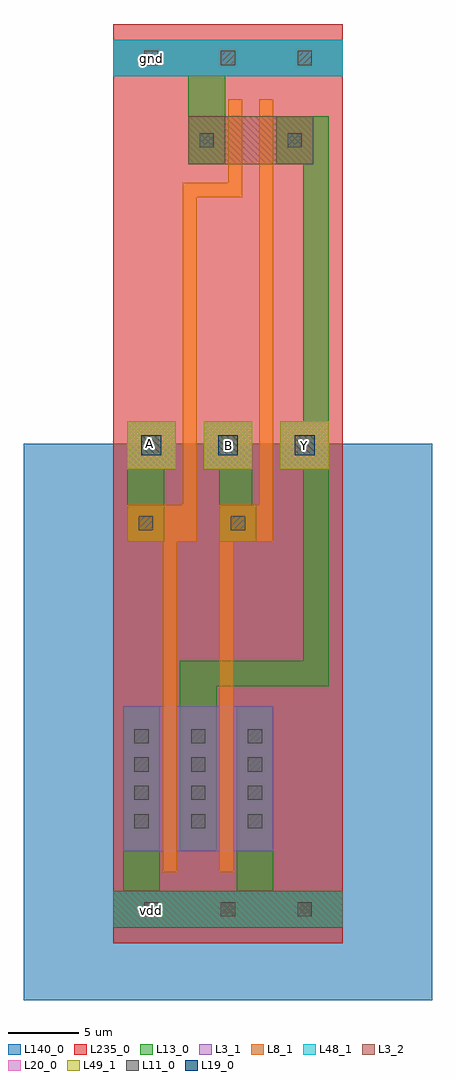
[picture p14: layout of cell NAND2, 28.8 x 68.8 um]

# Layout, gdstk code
import gdstk
lib = gdstk.Library(unit=1e-6, precision=1e-09)
def R(c, l, rs):  # rectangles x0, y0, x1, y1
    for r in rs: c.add(gdstk.rectangle(r[:2], r[2:], *l))
def A(c, l, x, y, w, h, nx, ny, dx, dy):  # array of equal rectangles
    R(c, l, [(x+i*dx, y+j*dy, x+i*dx+w, y+j*dy+h) for i in range(nx) for j in range(ny)])
def P(c, l, *ps):  # polygons
    for p in ps: c.add(gdstk.Polygon(p, *l))
L3_1 = (3, 1)
L3_2 = (3, 2)
L8_1 = (8, 1)
L11_0 = (11, 0)
L13_0 = (13, 0)
L19_0 = (19, 0)
L20_0 = (20, 0)
L48_1 = (48, 1)
L49_1 = (49, 1)
L140_0 = (140, 0)
L235_0 = (235, 0)

nand2 = lib.new_cell('NAND2')
R(nand2, L3_1, [(0.7,-58.3,7.3,-48.1), (4.7,-58.3,11.3,-48.1), (0,-3.7,16.2,-1.1)])
R(nand2, L3_2, [(0,-63.7,16.2,-61.1), (5.3,-9.9,14.1,-6.5)])
P(nand2, L8_1, [(3.5,-59.8),(3.5,-36.5),(1,-36.5),(1,-33.9),(4.9,-33.9),(4.9,-11.2),(8.1,-11.2),(8.1,-5.3),(9.1,-5.3),(9.1,-12.2),(5.9,-12.2),(5.9,-36.5),(4.5,-36.5),(4.5,-59.8)],
  [(7.5,-59.8),(7.5,-33.9),(10.3,-33.9),(10.3,-5.3),(11.3,-5.3),(11.3,-36.5),(8.5,-36.5),(8.5,-59.8)])
A(nand2, L11_0, 1.5, -56.7, 1, 1, 3, 4, 4, 2)
R(nand2, L11_0, [(2.2,-62.9,3.2,-61.9), (2.2,-62.9,3.2,-61.9), (7.6,-62.9,8.6,-61.9), (7.6,-62.9,8.6,-61.9), (7.6,-62.9,8.6,-61.9), (7.6,-62.9,8.6,-61.9), (13,-62.9,14,-61.9), (1.8,-35.7,2.8,-34.7), (8.3,-35.7,9.3,-34.7), (6.1,-8.7,7.1,-7.7), (12.3,-8.7,13.3,-7.7), (2.2,-2.9,3.2,-1.9), (7.6,-2.9,8.6,-1.9), (7.6,-2.9,8.6,-1.9), (13,-2.9,14,-1.9)])
R(nand2, L13_0, [(0,-63.7,16.2,-61.1), (0.7,-61.1,3.3,-48.1), (8.7,-61.1,11.3,-48.1), (4.7,-58.3,7.3,-44.9), (1,-36.5,3.6,-31.4), (1,-31.4,4.4,-28), (1,-31.4,4.4,-28), (6.4,-31.4,9.8,-28), (6.4,-31.4,9.8,-28), (11.8,-31.4,15.2,-28), (5.3,-9.9,7.9,-3.7), (0,-3.7,16.2,-1.1)])
P(nand2, L13_0, [(4.7,-46.7),(4.7,-44.9),(13.4,-44.9),(13.4,-31.4),(11.8,-31.4),(11.8,-28),(13.4,-28),(13.4,-9.9),(11.5,-9.9),(11.5,-6.5),(15.2,-6.5),(15.2,-46.7)],
  [(7.5,-36.5),(7.5,-31.4),(9.8,-31.4),(9.8,-33.9),(10.1,-33.9),(10.1,-36.5)])
A(nand2, L19_0, 2, -30.4, 1.4, 1.4, 3, 1, 5.4, 0)
A(nand2, L20_0, 1, -31.4, 3.4, 3.4, 3, 1, 5.4, 0)
R(nand2, L48_1, [(0,-63.7,16.2,-61.1), (0,-3.7,16.2,-1.1)])
A(nand2, L49_1, 1, -31.4, 3.4, 3.4, 3, 1, 5.4, 0)
R(nand2, L140_0, [(-6.3,-68.8,22.5,-29.6)])
R(nand2, L235_0, [(0,-64.8,16.2,0)])
nand2.add(gdstk.Label('gnd', (2.7,-2.4), layer=48, texttype=0))
nand2.add(gdstk.Label('vdd', (2.7,-62.5), layer=48, texttype=0))
nand2.add(gdstk.Label('A', (2.6,-29.6), layer=49, texttype=0))
nand2.add(gdstk.Label('Y', (13.5,-29.7), layer=49, texttype=0))
nand2.add(gdstk.Label('B', (8.1,-29.7), layer=49, texttype=0))

lib.write_gds('NAND2.gds')
